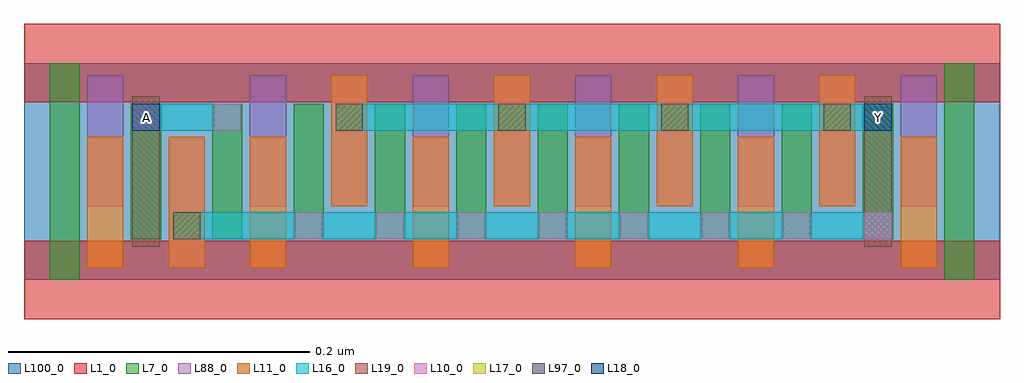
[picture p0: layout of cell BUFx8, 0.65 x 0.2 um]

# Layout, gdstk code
import gdstk
lib = gdstk.Library(unit=1e-6, precision=2.5e-10)
def R(c, l, rs):  # rectangles x0, y0, x1, y1
    for r in rs: c.add(gdstk.rectangle(r[:2], r[2:], *l))
def A(c, l, x, y, w, h, nx, ny, dx, dy):  # array of equal rectangles
    R(c, l, [(x+i*dx, y+j*dy, x+i*dx+w, y+j*dy+h) for i in range(nx) for j in range(ny)])
L1_0 = (1, 0)
L7_0 = (7, 0)
L10_0 = (10, 0)
L11_0 = (11, 0)
L16_0 = (16, 0)
L17_0 = (17, 0)
L18_0 = (18, 0)
L19_0 = (19, 0)
L88_0 = (88, 0)
L97_0 = (97, 0)
L100_0 = (100, 0)

bufx8 = lib.new_cell('BUFx8')
R(bufx8, L1_0, [(0,-0.026,0.648,0.026), (0,0.118,0.648,0.17)])
A(bufx8, L7_0, 0.071, 0.027, 0.02, 0.09, 10, 1, 0.054, 0)
R(bufx8, L7_0, [(0.017,0,0.037,0.144), (0.611,0,0.631,0.144)])
A(bufx8, L10_0, 0.18, 0.027, 0.018, 0.018, 8, 1, 0.054, 0)
R(bufx8, L10_0, [(0.072,0.099,0.09,0.117), (0.126,0.099,0.144,0.117)])
A(bufx8, L11_0, 0.042, 0.008, 0.024, 0.087, 3, 1, 0.054, 0)
A(bufx8, L11_0, 0.258, 0.008, 0.024, 0.087, 4, 1, 0.108, 0)
A(bufx8, L11_0, 0.204, 0.049, 0.024, 0.087, 4, 1, 0.108, 0)
R(bufx8, L16_0, [(0.099,0.027,0.576,0.045), (0.072,0.099,0.144,0.117), (0.207,0.099,0.576,0.117)])
A(bufx8, L17_0, 0.207, 0.099, 0.018, 0.018, 4, 1, 0.108, 0)
R(bufx8, L17_0, [(0.099,0.027,0.117,0.045)])
R(bufx8, L18_0, [(0.072,0.099,0.09,0.117), (0.558,0.099,0.576,0.117)])
R(bufx8, L19_0, [(0.072,0.022,0.09,0.122), (0.558,0.022,0.576,0.122)])
A(bufx8, L88_0, 0.15, 0.049, 0.024, 0.087, 9, 1, 0.054, 0)
R(bufx8, L88_0, [(0.096,0.008,0.12,0.095), (0.042,0.049,0.066,0.136)])
A(bufx8, L97_0, 0.207, 0.099, 0.018, 0.018, 4, 1, 0.108, 0)
R(bufx8, L97_0, [(0.099,0.027,0.117,0.045)])
R(bufx8, L100_0, [(0,0,0.648,0.144)])
bufx8.add(gdstk.Label('A', (0.081,0.108), layer=19, texttype=251))
bufx8.add(gdstk.Label('Y', (0.567,0.108), layer=19, texttype=251))

lib.write_gds('BUFx8.gds')
